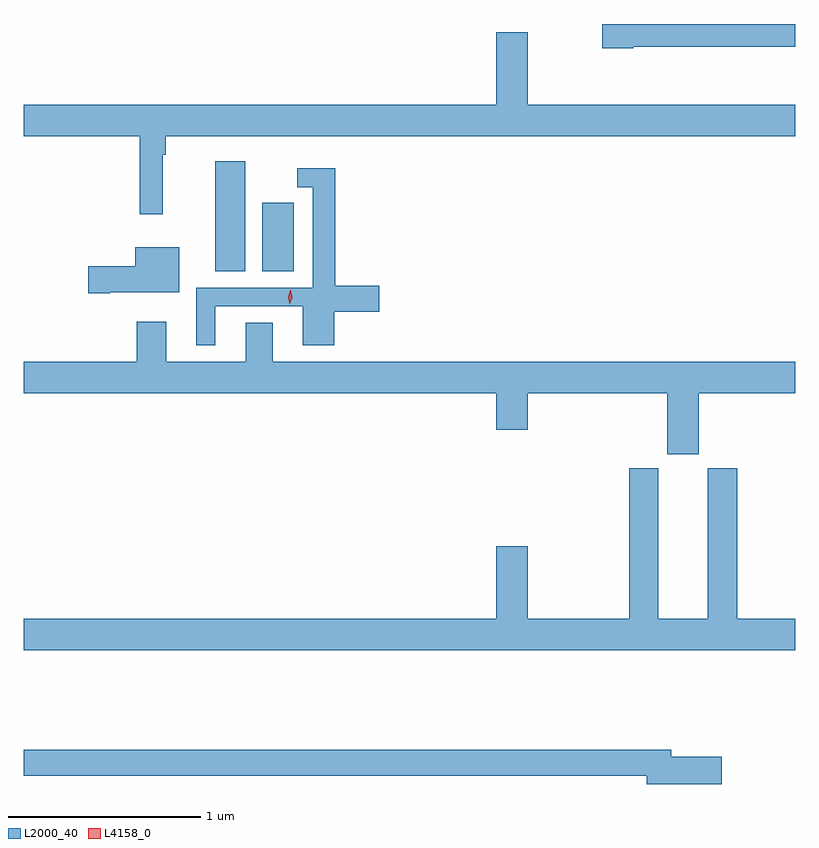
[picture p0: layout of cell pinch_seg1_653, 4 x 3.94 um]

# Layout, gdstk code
import gdstk
lib = gdstk.Library(unit=1e-6, precision=1e-09)
def R(c, l, rs):  # rectangles x0, y0, x1, y1
    for r in rs: c.add(gdstk.rectangle(r[:2], r[2:], *l))
def P(c, l, *ps):  # polygons
    for p in ps: c.add(gdstk.Polygon(p, *l))
L2000_40 = (2000, 40)
L4158_0 = (4158, 0)

pinch_seg1_653 = lib.new_cell('pinch_seg1_653')
R(pinch_seg1_653, L2000_40, [(762.953,561.688,763.108,562.258), (763.196,561.688,763.36,562.045)])
P(pinch_seg1_653, L2000_40, [(765.12,562.854),(765.959,562.854),(765.959,562.971),(764.959,562.971),(764.959,562.846),(765.12,562.846)],
  [(762.68,562.292),(762.695,562.292),(762.695,562.388),(765.959,562.388),(765.959,562.552),(764.572,562.552),(764.572,562.927),(764.408,562.927),(764.408,562.552),(761.959,562.552),(761.959,562.388),(762.559,562.388),(762.559,561.984),(762.68,561.984)],
  [(762.952,561.507),(763.406,561.507),(763.406,561.306),(763.568,561.306),(763.568,561.479),(763.801,561.479),(763.801,561.614),(763.574,561.614),(763.574,562.222),(763.377,562.222),(763.377,562.125),(763.458,562.125),(763.458,561.603),(762.854,561.603),(762.854,561.306),(762.952,561.306)],
  [(762.406,561.581),(762.766,561.581),(762.766,561.814),(762.536,561.814),(762.536,561.716),(762.294,561.716),(762.294,561.574),(762.406,561.574)],
  [(765.46,561.056),(765.959,561.056),(765.959,561.22),(763.249,561.22),(763.249,561.422),(763.109,561.422),(763.109,561.22),(762.697,561.22),(762.697,561.427),(762.545,561.427),(762.545,561.22),(761.959,561.22),(761.959,561.056),(764.408,561.056),(764.408,560.868),(764.572,560.868),(764.572,561.056),(765.296,561.056),(765.296,560.739),(765.46,560.739)],
  [(765.959,559.888),(765.659,559.888),(765.659,560.667),(765.506,560.667),(765.506,559.888),(765.25,559.888),(765.25,560.667),(765.098,560.667),(765.098,559.888),(764.572,559.888),(764.572,560.263),(764.408,560.263),(764.408,559.888),(761.959,559.888),(761.959,559.724),(765.959,559.724)],
  [(765.577,559.172),(765.316,559.172),(765.316,559.208),(761.959,559.208),(761.959,559.072),(765.188,559.072),(765.188,559.03),(765.577,559.03)])
P(pinch_seg1_653, L4158_0, [(763.338,561.519),(763.338,561.519),(763.33,561.555),(763.341,561.59),(763.341,561.591),(763.342,561.59),(763.35,561.554),(763.339,561.519)])

lib.write_gds('pinch_seg1_653.gds')
